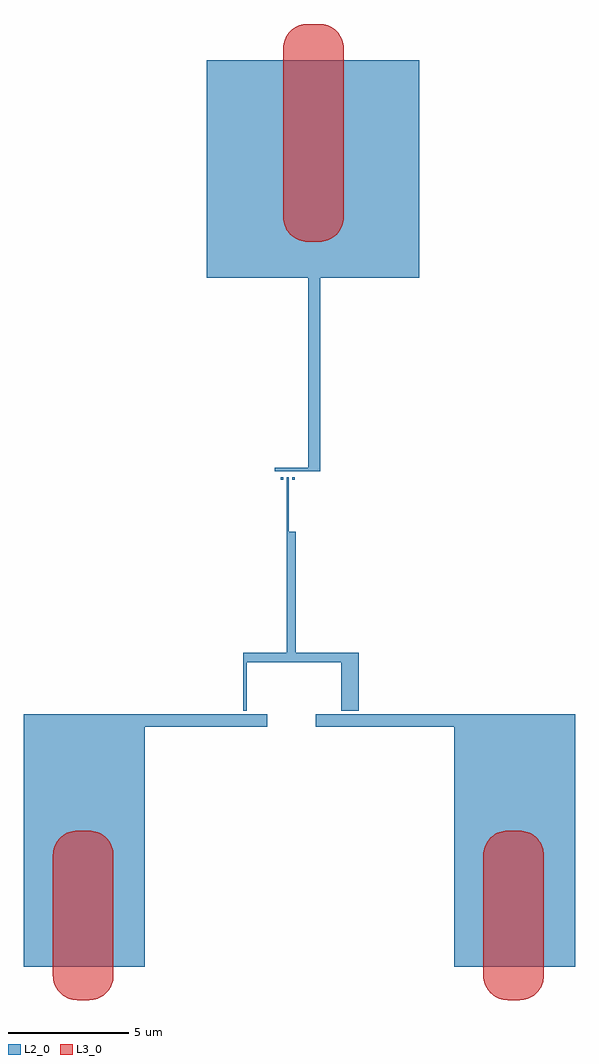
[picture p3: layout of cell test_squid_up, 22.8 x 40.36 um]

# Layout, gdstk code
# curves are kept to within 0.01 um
import gdstk
lib = gdstk.Library(unit=1e-6, precision=1e-10)
def R(c, l, rs):  # rectangles x0, y0, x1, y1
    for r in rs: c.add(gdstk.rectangle(r[:2], r[2:], *l))
def P(c, l, *ps):  # polygons
    for p in ps: c.add(gdstk.Polygon(p, *l))
L2_0 = (2, 0)
L3_0 = (3, 0)

test_squid_up = lib.new_cell('test_squid_up')
R(test_squid_up, L2_0, [(-11.944,-37.4936,-6.944,-27.0586), (5.856,-37.4936,10.856,-27.0586), (-6.944,-27.5586,-1.88,-27.0586), (0.12,-27.5586,5.856,-27.0586), (-2.88,-26.8986,-2.73,-24.8986), (1.185,-26.8986,1.905,-24.4986), (-2.88,-24.8986,-0.777,-24.4986), (-0.777,-24.8986,1.185,-24.4986), (-1.0656,-24.4986,-0.6906,-20.4986), (-1.0656,-20.4986,-0.6906,-19.4986), (-1.0656,-19.4986,-0.9956,-17.2486), (-1.3156,-17.3486,-1.2156,-17.2486), (-0.8456,-17.3486,-0.7456,-17.2486), (-1.5636,-16.9986,0.3094,-16.8486), (-0.1906,-16.8486,0.3094,-8.9986), (-4.38,-8.9986,4.4,0.0014)])
P(test_squid_up, L3_0, [(-0.216,-7.5058),(0.284,-7.5058),(0.4576,-7.4906),(0.626,-7.4455),(0.784,-7.3718),(0.9911,-7.2129),(1.1032,-7.0794),(1.2237,-6.8478),(1.2802,-6.593),(1.2802,0.5814),(1.2499,0.753),(1.1903,0.9168),(1.1032,1.0678),(0.9911,1.2013),(0.8576,1.3134),(0.7066,1.4005),(0.5428,1.4601),(0.3712,1.4904),(-0.3032,1.4904),(-0.558,1.4339),(-0.716,1.3602),(-0.9231,1.2013),(-1.0352,1.0678),(-1.1557,0.8362),(-1.2122,0.5814),(-1.2122,-6.593),(-1.1819,-6.7646),(-1.1223,-6.9284),(-1.0352,-7.0794),(-0.9231,-7.2129),(-0.7896,-7.325),(-0.558,-7.4455),(-0.3896,-7.4906)],
  [(8.061,-38.8674),(8.561,-38.8674),(8.7346,-38.8522),(8.903,-38.8071),(9.061,-38.7334),(9.2681,-38.5745),(9.3802,-38.441),(9.5007,-38.2094),(9.5572,-37.9546),(9.561,-32.8674),(9.5458,-32.6938),(9.4673,-32.4448),(9.3802,-32.2938),(9.2681,-32.1603),(9.1346,-32.0482),(8.9836,-31.9611),(8.8198,-31.9015),(8.6482,-31.8712),(7.9738,-31.8712),(7.719,-31.9277),(7.561,-32.0014),(7.3539,-32.1603),(7.2418,-32.2938),(7.1213,-32.5254),(7.0648,-32.7802),(7.061,-37.8674),(7.0762,-38.041),(7.1213,-38.2094),(7.195,-38.3674),(7.295,-38.5102),(7.4182,-38.6334),(7.561,-38.7334),(7.719,-38.8071),(7.8874,-38.8522)],
  [(-9.739,-38.8674),(-9.239,-38.8674),(-9.0654,-38.8522),(-8.897,-38.8071),(-8.739,-38.7334),(-8.5319,-38.5745),(-8.4198,-38.441),(-8.2993,-38.2094),(-8.2428,-37.9546),(-8.239,-32.8674),(-8.2542,-32.6938),(-8.3327,-32.4448),(-8.4198,-32.2938),(-8.5319,-32.1603),(-8.6654,-32.0482),(-8.8164,-31.9611),(-8.9802,-31.9015),(-9.1518,-31.8712),(-9.8262,-31.8712),(-10.081,-31.9277),(-10.239,-32.0014),(-10.4461,-32.1603),(-10.5582,-32.2938),(-10.6787,-32.5254),(-10.7352,-32.7802),(-10.739,-37.8674),(-10.7238,-38.041),(-10.6787,-38.2094),(-10.605,-38.3674),(-10.505,-38.5102),(-10.3818,-38.6334),(-10.239,-38.7334),(-10.081,-38.8071),(-9.9126,-38.8522)])

lib.write_gds('test_squid_up.gds')
